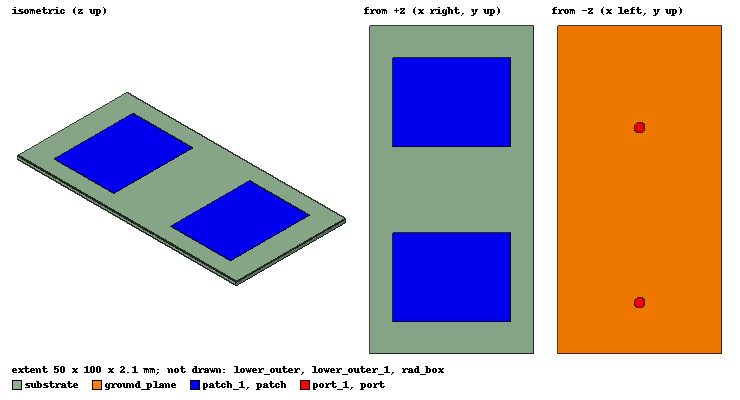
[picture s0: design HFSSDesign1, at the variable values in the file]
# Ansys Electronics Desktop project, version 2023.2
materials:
  vacuum: permittivity=1
  FR4_epoxy: permittivity=4.4 dielectric_loss_tangent=0.02
  pec: conductivity=1e+30
  air: permittivity=1.0006 permeability=1.0000004

design HFSSDesign1 (HFSS, HFSS Terminal Network, model units mm)
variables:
  subx = 50mm
  suby = 100mm
  subz = 1.6mm
  w = 36.1mm
  l = 27.4mm
  dy = 25.94mm
  fy = 5.92mm
  l5 = 0.7mm
  la2 = 4.6mm
  wa1 = 4.8mm
  g1 = 0.7mm
  w4 = 1.75mm
  l7 = suby-1mm
  l6 = 0.4mm
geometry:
  substrate [FR4_epoxy] = box(corner=(0mm, 0mm, 0mm), size=(subx, suby, subz))
  ground_plane = rectangle(corner=(0mm, 0mm, 0mm), x_size=subx, y_size=suby)
  patch = rectangle(corner=(subx/2-w/2, (suby-l-l-dy)/2, subz), x_size=w, y_size=l)
  patch_1 = patch.duplicate_along_line(step=(0mm, dy+l, 0mm), total=2)
  ground_cut = circle(normal=Z, centre=(subx/2-w/2+w/2, (suby-l-l-dy)/2+fy, 0), radius=1.6mm)
  ground_cut_1 = ground_cut.duplicate_along_line(step=(0mm, dy+l, 0mm), total=2)
  ground_plane.subtract(ground_cut)
  ground_plane.subtract(ground_cut_1)
  upper_inner [pec] = cylinder(axis=Z, base_centre=(subx/2-w/2+w/2, (suby-l-l-dy)/2+fy, 0mm), radius=0.6mm, height=subz)
  upper_inner_1 [pec] = upper_inner.duplicate_along_line(step=(0mm, dy+l, 0mm), total=2)
  lower_inner [pec] = cylinder(axis=Z, base_centre=(subx/2-w/2+w/2, (suby-l-l-dy)/2+fy, -0.5mm), radius=0.6mm, height=0.5mm)
  lower_inner_1 [pec] = lower_inner.duplicate_along_line(step=(0mm, dy+l, 0mm), total=2)
  lower_outer [vacuum] = cylinder(axis=Z, base_centre=(subx/2-w/2+w/2, (suby-l-l-dy)/2+fy, -0.5mm), radius=1.6mm, height=0.5mm)
  lower_outer_1 [vacuum] = lower_outer.duplicate_along_line(step=(0mm, dy+l, 0mm), total=2)
  port = circle(normal=Z, centre=(subx/2-w/2+w/2, (suby-l-l-dy)/2+fy, -0.5mm), radius=1.6mm)
  port_1 = port.duplicate_along_line(step=(0mm, dy+l, 0mm), total=2)
  rad_box [air] = box(corner=(-4mm, -4mm, 0mm), size=(subx+8mm, suby+8mm, subz*10))
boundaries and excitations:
  PerfE1: Perfect E Objects=ground_plane
  PerfE2: Perfect E Objects=patch
  PerfE3: Perfect E Objects=patch_1
  Rad1: Radiation Faces=rad_box.face(+z, +y, +x, -y, -x)
  lower_inner_T1: Terminal port=1 Faces=lower_inner.face(-z end) TerminalResistance=50ohm
  lower_inner_1_T1: Terminal port=2 Faces=lower_inner_1.face(at (25, 68.89, -0.5)) TerminalResistance=50ohm
  1: Wave Port Faces=port.face(at (25, 15.55, -0.5)) WavePortType=Terminal NumModes=1
  2: Wave Port Faces=port_1.face WavePortType=Terminal NumModes=1
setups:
  Setup2: HfssDrivenAuto AutoSolverSetting=Balanced SaveAnyFields=false Type=Interpolating
    sweep Sweep: 1GHz to 3GHz, 501 points;
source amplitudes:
  1:1: 1V 0deg
  2:1: 0V 0deg
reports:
  Terminal S Parameter Plot 1: dB(St(lower_inner_T1,lower_inner_T1)) vs Freq on Setup2 : Sweep [dy=25.94mm fy=5.92mm]; markers MX1 at x=2.4000007e+09
  Terminal Z Parameter Plot 1: re(Zt(lower_inner_T1,lower_inner_T1)), im(Zt(lower_inner_T1,lower_inner_T1)) vs Freq on Setup2 : Sweep [dy=25.94mm fy=5.92mm]; markers MX1 at x=2.4000421e+09
  Terminal S Parameter Plot 2: dB(St(lower_inner_1_T1,lower_inner_T1)) vs Freq on Setup2 : Sweep [dy=25.94mm fy=5.92mm]; markers MX1 at x=2.4000142e+09
